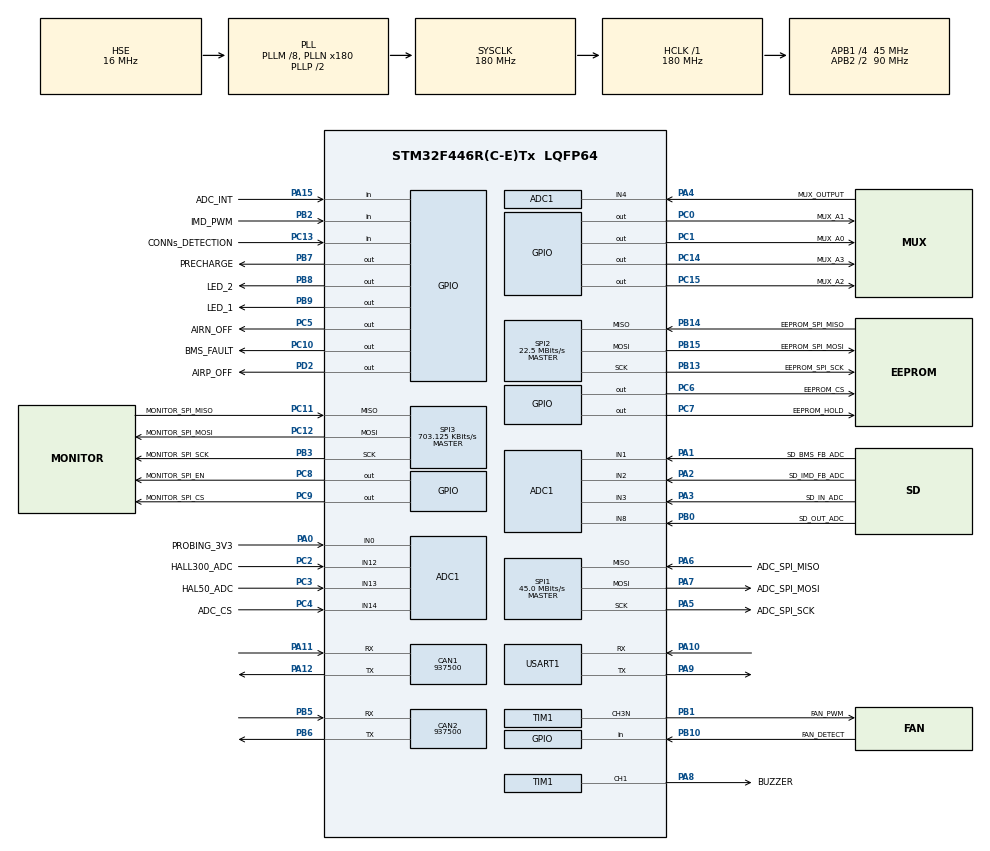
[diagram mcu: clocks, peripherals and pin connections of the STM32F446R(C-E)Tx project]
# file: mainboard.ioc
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ADC1.Channel-0\#ChannelRegularConversion=ADC_CHANNEL_8
ADC1.NbrOfConversionFlag=1
ADC1.Rank-0\#ChannelRegularConversion=1
ADC1.SamplingTime-0\#ChannelRegularConversion=ADC_SAMPLETIME_3CYCLES
ADC1.master=1
CAN1.BS1=CAN_BS1_1TQ
CAN1.BS2=CAN_BS2_1TQ
CAN1.CalculateBaudRate=937500
CAN1.CalculateTimeBit=1066
CAN1.CalculateTimeQuantum=355.55555555555554
CAN2.BS1=CAN_BS1_1TQ
CAN2.BS2=CAN_BS2_1TQ
CAN2.CalculateBaudRate=937500
CAN2.CalculateTimeBit=1066
CAN2.CalculateTimeQuantum=355.55555555555554
Mcu.Family=STM32F4
Mcu.Name=STM32F446R(C-E)Tx
Mcu.Package=LQFP64
NVIC.PriorityGroup=NVIC_PRIORITYGROUP_4
PA0-WKUP.GPIO_Label=PROBING_3V3
PA0-WKUP.Signal=ADCx_IN0
PA1.GPIO_Label=SD_BMS_FB_ADC
PA1.Signal=ADCx_IN1
PA10.Mode=Asynchronous
PA10.Signal=USART1_RX
PA11.Mode=CAN_Activate
PA11.Signal=CAN1_RX
PA12.Mode=CAN_Activate
PA12.Signal=CAN1_TX
PA13.Signal=SYS_JTMS-SWDIO
PA14.Signal=SYS_JTCK-SWCLK
PA15.GPIO_Label=ADC_INT
PA15.Signal=GPIO_Input
PA2.GPIO_Label=SD_IMD_FB_ADC
PA2.Signal=ADCx_IN2
PA3.GPIO_Label=SD_IN_ADC
PA3.Signal=ADCx_IN3
PA4.GPIO_Label=MUX_OUTPUT
PA4.Signal=ADCx_IN4
PA5.GPIO_Label=ADC_SPI_SCK
PA5.Mode=Full_Duplex_Master
PA5.Signal=SPI1_SCK
PA6.GPIO_Label=ADC_SPI_MISO
PA6.Mode=Full_Duplex_Master
PA6.Signal=SPI1_MISO
PA7.GPIO_Label=ADC_SPI_MOSI
PA7.Mode=Full_Duplex_Master
PA7.Signal=SPI1_MOSI
PA8.GPIO_Label=BUZZER
PA8.Signal=S_TIM1_CH1
PA9.Mode=Asynchronous
PA9.Signal=USART1_TX
PB0.GPIO_Label=SD_OUT_ADC
PB0.Signal=ADCx_IN8
PB1.GPIO_Label=FAN_PWM
PB1.Mode=Output Compare3 CH3N
PB1.Signal=TIM1_CH3N
PB10.GPIO_Label=FAN_DETECT
PB10.Signal=GPIO_Input
PB13.GPIO_Label=EEPROM_SPI_SCK
PB13.Mode=Full_Duplex_Master
PB13.Signal=SPI2_SCK
PB14.GPIO_Label=EEPROM_SPI_MISO
PB14.Mode=Full_Duplex_Master
PB14.Signal=SPI2_MISO
PB15.GPIO_Label=EEPROM_SPI_MOSI
PB15.Mode=Full_Duplex_Master
PB15.Signal=SPI2_MOSI
PB2.GPIO_Label=IMD_PWM
PB2.Signal=GPIO_Input
PB3.GPIO_Label=MONITOR_SPI_SCK
PB3.Mode=Full_Duplex_Master
PB3.Signal=SPI3_SCK
PB5.Mode=CAN_Activate
PB5.Signal=CAN2_RX
PB6.Mode=CAN_Activate
PB6.Signal=CAN2_TX
PB7.GPIO_Label=PRECHARGE
PB7.Signal=GPIO_Output
PB8.GPIO_Label=LED_2
PB8.Signal=GPIO_Output
PB9.GPIO_Label=LED_1
PB9.Signal=GPIO_Output
PC0.GPIO_Label=MUX_A1
PC0.Signal=GPIO_Output
PC1.GPIO_Label=MUX_A0
PC1.Signal=GPIO_Output
PC10.GPIO_Label=BMS_FAULT
PC10.Signal=GPIO_Output
PC11.GPIO_Label=MONITOR_SPI_MISO
PC11.Mode=Full_Duplex_Master
PC11.Signal=SPI3_MISO
PC12.GPIO_Label=MONITOR_SPI_MOSI
PC12.Mode=Full_Duplex_Master
PC12.Signal=SPI3_MOSI
PC13.GPIO_Label=CONNs_DETECTION
PC13.Signal=GPIO_Input
PC14-OSC32_IN.GPIO_Label=MUX_A3
PC14-OSC32_IN.Signal=GPIO_Output
PC15-OSC32_OUT.GPIO_Label=MUX_A2
PC15-OSC32_OUT.Signal=GPIO_Output
PC2.GPIO_Label=HALL300_ADC
PC2.Signal=ADCx_IN12
PC3.GPIO_Label=HAL50_ADC
PC3.Signal=ADCx_IN13
PC4.GPIO_Label=ADC_CS
PC4.Signal=ADCx_IN14
PC5.GPIO_Label=AIRN_OFF
PC5.Signal=GPIO_Output
PC6.GPIO_Label=EEPROM_CS
PC6.Signal=GPIO_Output
PC7.GPIO_Label=EEPROM_HOLD
PC7.Signal=GPIO_Output
PC8.GPIO_Label=MONITOR_SPI_EN
PC8.Signal=GPIO_Output
PC9.GPIO_Label=MONITOR_SPI_CS
PC9.Signal=GPIO_Output
PD2.GPIO_Label=AIRP_OFF
PD2.Signal=GPIO_Output
PH0-OSC_IN.Mode=HSE-External-Oscillator
PH0-OSC_IN.Signal=RCC_OSC_IN
PH1-OSC_OUT.Mode=HSE-External-Oscillator
PH1-OSC_OUT.Signal=RCC_OSC_OUT
ProjectManager.HeapSize=0x200
ProjectManager.StackSize=0x400
ProjectManager.TargetToolchain=Makefile
RCC.AHBFreq_Value=180000000
RCC.APB1CLKDivider=RCC_HCLK_DIV4
RCC.APB1Freq_Value=45000000
RCC.APB1TimFreq_Value=90000000
RCC.APB2CLKDivider=RCC_HCLK_DIV2
RCC.APB2Freq_Value=90000000
RCC.APB2TimFreq_Value=180000000
RCC.CortexFreq_Value=180000000
RCC.HCLKFreq_Value=180000000
RCC.HSE_VALUE=16000000
RCC.PLLM=8
RCC.PLLN=180
RCC.PLLSourceVirtual=RCC_PLLSOURCE_HSE
RCC.SYSCLKFreq_VALUE=180000000
RCC.SYSCLKSource=RCC_SYSCLKSOURCE_PLLCLK
RCC.USBFreq_Value=180000000
RCC.VCOOutputFreq_Value=360000000
SH.ADCx_IN0.0=ADC1_IN0,IN0
SH.ADCx_IN1.0=ADC1_IN1,IN1
SH.ADCx_IN12.0=ADC1_IN12,IN12
SH.ADCx_IN13.0=ADC1_IN13,IN13
SH.ADCx_IN14.0=ADC1_IN14,IN14
SH.ADCx_IN2.0=ADC1_IN2,IN2
SH.ADCx_IN3.0=ADC1_IN3,IN3
SH.ADCx_IN4.0=ADC1_IN4,IN4
SH.ADCx_IN8.0=ADC1_IN8,IN8
SH.S_TIM1_CH1.0=TIM1_CH1,Output Compare1 CH1
SPI1.BaudRatePrescaler=SPI_BAUDRATEPRESCALER_2
SPI1.CalculateBaudRate=45.0 MBits/s
SPI1.Direction=SPI_DIRECTION_2LINES
SPI1.Mode=SPI_MODE_MASTER
SPI1.VirtualType=VM_MASTER
SPI2.BaudRatePrescaler=SPI_BAUDRATEPRESCALER_2
SPI2.CalculateBaudRate=22.5 MBits/s
SPI2.Direction=SPI_DIRECTION_2LINES
SPI2.Mode=SPI_MODE_MASTER
SPI2.VirtualType=VM_MASTER
SPI3.BaudRatePrescaler=SPI_BAUDRATEPRESCALER_64
SPI3.CLKPhase=SPI_PHASE_2EDGE
SPI3.CLKPolarity=SPI_POLARITY_LOW
SPI3.CalculateBaudRate=703.125 KBits/s
SPI3.Direction=SPI_DIRECTION_2LINES
SPI3.Mode=SPI_MODE_MASTER
SPI3.VirtualType=VM_MASTER
TIM1.Channel-Output\ Compare1\ CH1=TIM_CHANNEL_1
TIM1.Channel-Output\ Compare3\ CH3N=TIM_CHANNEL_3
USART1.VirtualMode=VM_ASYNC
board=custom

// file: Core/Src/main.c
/* USER CODE BEGIN Header */
/**
  ******************************************************************************
  * @file           : main.c
  * @brief          : Main program body
  ******************************************************************************
  * @attention
  *
  * Copyright (c) 2023 STMicroelectronics.
  * All rights reserved.
  *
  * This software is licensed under terms that can be found in the LICENSE file
  * in the root directory of this software component.
  * If no LICENSE file comes with this software, it is provided AS-IS.
  *
  ******************************************************************************
  */
/* USER CODE END Header */
#include "main.h"
#include "adc.h"
#include "can.h"
#include "spi.h"
#include "tim.h"
#include "usart.h"
#include "gpio.h"

/* USER CODE BEGIN Includes */

#include "bms_fsm.h"
#include "micro-libs/m95256/m95256.h"
#include "pack/current.h"
#include "cli_bms.h"

/* USER CODE END Includes */

/* USER CODE BEGIN PV */

fsm super_fsm;

/* USER CODE END PV */

void SystemClock_Config(void);

int main(void)
{

    /* MCU Configuration--------------------------------------------------------*/

    /* Reset of all peripherals, Initializes the Flash interface and the Systick. */
    HAL_Init();

    /* Configure the system clock */
    SystemClock_Config();

    /* Initialize all configured peripherals */
    MX_GPIO_Init();
    MX_ADC1_Init();
    MX_CAN1_Init();
    MX_CAN2_Init();
    MX_SPI1_Init();
    MX_SPI2_Init();
    MX_SPI3_Init();
    MX_USART1_UART_Init();
    MX_TIM1_Init();
    /* USER CODE BEGIN 2 */

    EEPROM_HOLD_HIGH(EEPROM_HOLD_GPIO_Port, EEPROM_HOLD_Pin);
    current_start_measure();

    cli_bms_init();
    error_init();

    voltage_init();
    bal_fsm_init();
    bms_fsm_init();
    current_zero();
    soc_init();
    can_bms_init();
    can_car_init();
    measures_init();
    imd_init();
    feedback_init();
    fans_init();

  /* USER CODE END 2 */

  /* Infinite loop */
    while (1)
    {

    /* USER CODE BEGIN 3 */

        fsm_run(bms.fsm);
        fsm_run(bal.fsm);

        measures_check_flags();
        cli_watch_flush_handler();
        if (HAL_GetTick() > 1500 && !HAL_GPIO_ReadPin(BMS_FAULT_GPIO_Port, BMS_FAULT_Pin))
            HAL_GPIO_WritePin(BMS_FAULT_GPIO_Port, BMS_FAULT_Pin, BMS_FAULT_OFF_VALUE);

        cli_loop(&cli_bms);
    }
    return 0;

  /* USER CODE END 3 */
}

void SystemClock_Config(void)
{
  RCC_OscInitTypeDef RCC_OscInitStruct = {0};
  RCC_ClkInitTypeDef RCC_ClkInitStruct = {0};

  /** Configure the main internal regulator output voltage
  */
  __HAL_RCC_PWR_CLK_ENABLE();
  __HAL_PWR_VOLTAGESCALING_CONFIG(PWR_REGULATOR_VOLTAGE_SCALE1);

  /** Initializes the RCC Oscillators according to the specified parameters
  * in the RCC_OscInitTypeDef structure.
  */
  RCC_OscInitStruct.OscillatorType = RCC_OSCILLATORTYPE_HSE;
  RCC_OscInitStruct.HSEState = RCC_HSE_ON;
  RCC_OscInitStruct.PLL.PLLState = RCC_PLL_ON;
  RCC_OscInitStruct.PLL.PLLSource = RCC_PLLSOURCE_HSE;
  RCC_OscInitStruct.PLL.PLLM = 8;
  RCC_OscInitStruct.PLL.PLLN = 180;
  RCC_OscInitStruct.PLL.PLLP = RCC_PLLP_DIV2;
  RCC_OscInitStruct.PLL.PLLQ = 2;
  RCC_OscInitStruct.PLL.PLLR = 2;
  if (HAL_RCC_OscConfig(&RCC_OscInitStruct) != HAL_OK)
  {
    Error_Handler();
  }

  /** Activate the Over-Drive mode
  */
  if (HAL_PWREx_EnableOverDrive() != HAL_OK)
  {
    Error_Handler();
  }

  /** Initializes the CPU, AHB and APB buses clocks
  */
  RCC_ClkInitStruct.ClockType = RCC_CLOCKTYPE_HCLK|RCC_CLOCKTYPE_SYSCLK
                              |RCC_CLOCKTYPE_PCLK1|RCC_CLOCKTYPE_PCLK2;
  RCC_ClkInitStruct.SYSCLKSource = RCC_SYSCLKSOURCE_PLLCLK;
  RCC_ClkInitStruct.AHBCLKDivider = RCC_SYSCLK_DIV1;
  RCC_ClkInitStruct.APB1CLKDivider = RCC_HCLK_DIV4;
  RCC_ClkInitStruct.APB2CLKDivider = RCC_HCLK_DIV2;

  if (HAL_RCC_ClockConfig(&RCC_ClkInitStruct, FLASH_LATENCY_5) != HAL_OK)
  {
    Error_Handler();
  }
}

void Error_Handler(void)
{
    __disable_irq();
    while (1)
    {
    }
}
